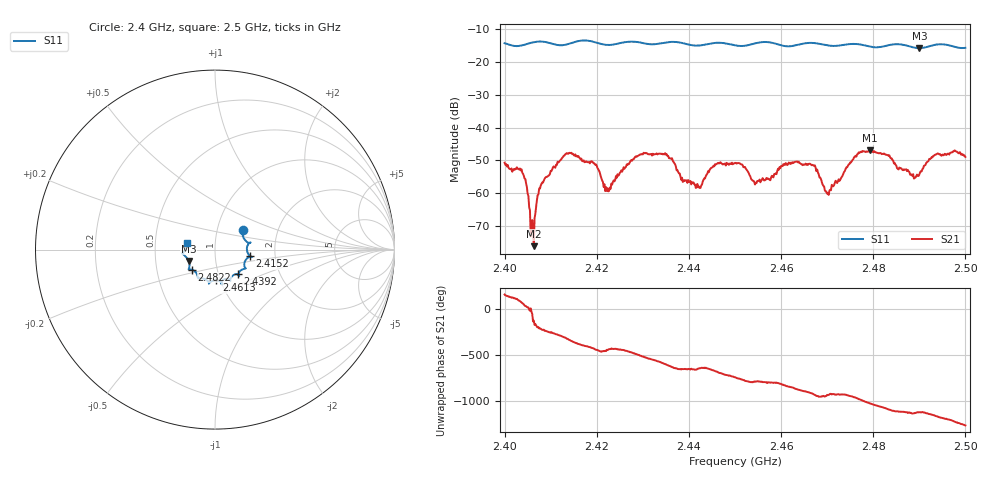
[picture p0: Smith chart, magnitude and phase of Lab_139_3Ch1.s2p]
# Hz S RI R 50
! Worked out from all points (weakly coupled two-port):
!   601 points, 2.4 GHz to 2.5 GHz, reference 50 ohm
!   highest |S21| = -46.86 dB at 2.4793 GHz (marker M1); lowest = -76.0 dB at 2.4063 GHz (marker M2)
!   lowest |S11| = -15.9 dB at 2.49 GHz (marker M3), VSWR 1.38, Z = 36.9 - j4.85 ohm
!   |S11| at or under -10 dB: start of sweep to end of sweep
!   S12 and S22 are empty: the file has one direction only
!   S11 on the Smith chart (normalised r, x): 2.4 GHz: 1.33, +0.31; 2.4152 GHz: 1.48, -0.11; 2.4392 GHz: 1.23, -0.35; 2.4613 GHz: 0.96, -0.34; 2.4822 GHz: 0.76, -0.17; 2.5 GHz: 0.72, +0.05
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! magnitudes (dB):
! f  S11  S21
! 2.4 GHz  -14.4  -50.7
! 2.404 GHz  -15.0  -54.0
! 2.4058 GHz  -14.2  -69.1
! 2.4063 GHz  -14.1  -76.0
! 2.4083 GHz  -13.9  -56.7
! 2.4152 GHz  -14.0  -48.5
! 2.4167 GHz  -13.6  -49.4
! 2.4223 GHz  -14.9  -58.4
! 2.4287 GHz  -14.0  -48.9
! 2.4333 GHz  -14.6  -48.0
! 2.4392 GHz  -14.5  -56.1
! 2.45 GHz  -15.0  -50.7
! 2.4547 GHz  -14.3  -56.9
! 2.4613 GHz  -15.3  -51.4
! 2.4667 GHz  -14.3  -51.5
! 2.4702 GHz  -15.1  -60.0
! 2.4793 GHz  -15.5  -46.9
! 2.4822 GHz  -15.4  -48.0
! 2.4833 GHz  -15.0  -48.6
! 2.49 GHz  -15.9  -54.3
! 2.4937 GHz  -14.8  -48.1
! 2.5 GHz  -15.8  -48.9
